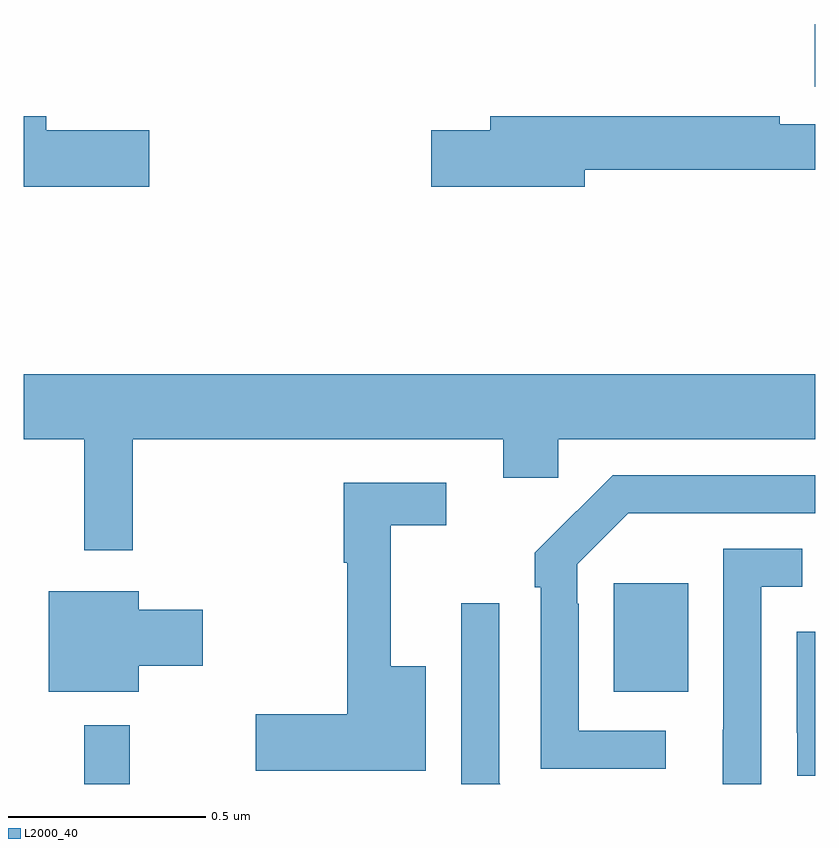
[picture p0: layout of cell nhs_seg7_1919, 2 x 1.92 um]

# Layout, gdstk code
import gdstk
lib = gdstk.Library(unit=1e-6, precision=1e-09)
def R(c, l, rs):  # rectangles x0, y0, x1, y1
    for r in rs: c.add(gdstk.rectangle(r[:2], r[2:], *l))
def P(c, l, *ps):  # polygons
    for p in ps: c.add(gdstk.Polygon(p, *l))
L2000_40 = (2000, 40)

nhs_seg7_1919 = lib.new_cell('nhs_seg7_1919')
R(nhs_seg7_1919, L2000_40, [(137.153,1077,137.267,1077.148), (138.491,1077.233,138.679,1077.508), (138.999,1078.763,139,1078.921)])
P(nhs_seg7_1919, L2000_40, [(137.317,1078.652),(137.056,1078.652),(137.056,1078.688),(137,1078.688),(137,1078.51),(137.317,1078.51)],
  [(138.418,1078.552),(139,1078.552),(139,1078.668),(138.911,1078.668),(138.911,1078.688),(138.179,1078.688),(138.179,1078.652),(138.03,1078.652),(138.03,1078.51),(138.418,1078.51)],
  [(137.275,1077.872),(138.212,1077.872),(138.212,1077.774),(138.351,1077.774),(138.351,1077.872),(139,1077.872),(139,1078.036),(137,1078.036),(137,1077.872),(137.153,1077.872),(137.153,1077.591),(137.275,1077.591)],
  [(138.622,1077.135),(138.402,1077.135),(138.402,1077.455),(138.399,1077.455),(138.399,1077.555),(138.528,1077.684),(139,1077.684),(139,1077.78),(138.488,1077.78),(138.397,1077.689),(138.396,1077.69),(138.291,1077.585),(138.291,1077.497),(138.306,1077.497),(138.306,1077.039),(138.622,1077.039)],
  [(138.016,1077.298),(137.927,1077.298),(137.927,1077.654),(138.067,1077.654),(138.067,1077.762),(137.809,1077.762),(137.809,1077.559),(137.817,1077.559),(137.817,1077.176),(137.586,1077.176),(137.586,1077.034),(138.016,1077.034)],
  [(138.864,1077.498),(138.967,1077.498),(138.967,1077.594),(138.768,1077.594),(138.768,1077.137),(138.767,1077.137),(138.767,1077),(138.864,1077)],
  [(137.29,1077.299),(137.452,1077.299),(137.452,1077.441),(137.29,1077.441),(137.29,1077.487),(137.063,1077.487),(137.063,1077.233),(137.29,1077.233)],
  [(138.201,1077.003),(138.201,1077.457),(138.105,1077.457),(138.105,1077),(138.204,1077)],
  [(139,1077.385),(138.954,1077.385),(138.954,1077.13),(138.955,1077.13),(138.955,1077.021),(139,1077.021)])

lib.write_gds('nhs_seg7_1919.gds')
